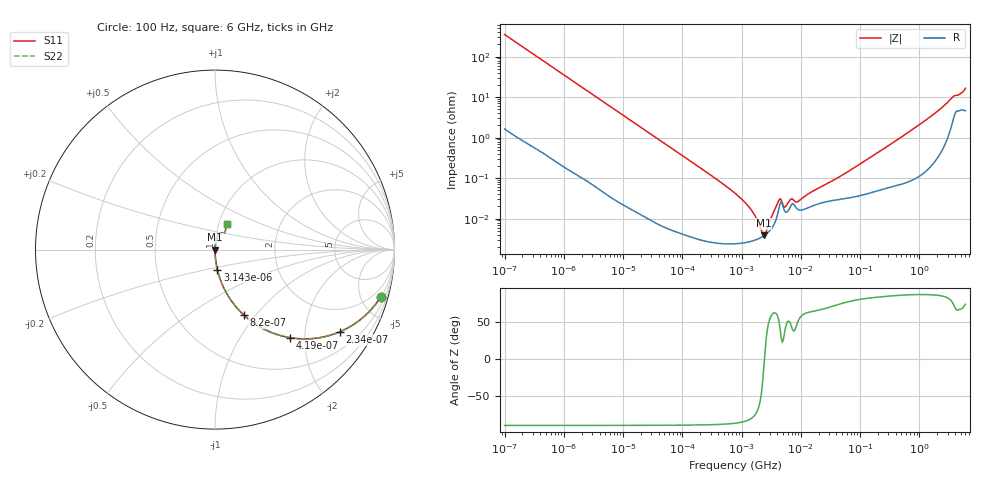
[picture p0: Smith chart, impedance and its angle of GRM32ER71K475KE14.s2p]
!Murata Part Number: GRM32ER71K475KE14
!These Parameters are Measured in Series Mode Connection
!Data Generated on Mar 30, 2021
!  o--ll--o
!Port1  Port2
!  o------o
!Operation Temp=25[degC], DC Bias Voltage=0[V]
!Freq. Start=100[Hz] Stop=6[GHz] 401[Steps]
# Hz S RI R 50
!Freq.(Hz) S11(Real) S11(Imag) S21(Real) S21(Imag) S12(Real) S12(Imag) S22(Real) S22(Imag)
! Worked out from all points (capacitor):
!   401 points, 100 Hz to 6 GHz, reference 50 ohm
!   read as one part in series: C = 4.51 uF near 109 Hz
!   lowest |Z| = 3.85 mohm at 2.373 MHz (marker M1)
!   series resonance near 2.431 MHz, so ESL is about 950 pH
!   S11 on the Smith chart (normalised r, x): 100 Hz: 1.03, -7.05; 234 Hz: 1.01, -3.02; 419 Hz: 1.01, -1.69; 820 Hz: 1.00, -0.87; 3.143 kHz: 1.00, -0.23; 6 GHz: 1.09, +0.32
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100  0.9245 -0.2618  0.0755 0.2618  0.0755 0.2618  0.9245 -0.2618
234  0.6942 -0.4583  0.3058 0.4583  0.3058 0.4583  0.6942 -0.4583
419  0.4171 -0.4905  0.5829 0.4905  0.5829 0.4905  0.4171 -0.4905
820  0.159 -0.3631  0.841 0.3631  0.841 0.3631  0.159 -0.3631
2008  0.0314 -0.1715  0.9686 0.1715  0.9686 0.1715  0.0314 -0.1715
3143  0.0134 -0.1119  0.9866 0.1119  0.9866 0.1119  0.0134 -0.1119
40335  0.00015 -0.00892  0.9998 0.00892  0.9998 0.00892  0.00015 -0.00892
774597  2.41e-05 -0.000423  1 0.000423  1 0.000423  2.41e-05 -0.000423
1212075  2.59e-05 -0.000228  1 0.000228  1 0.000228  2.59e-05 -0.000228
1813585  3.07e-05 -9.11e-05  1 9.11e-05  1 9.11e-05  3.07e-05 -9.11e-05
2372521  3.77e-05 -7.6e-06  1 7.6e-06  1 7.6e-06  3.77e-05 -7.6e-06
3103719  5.35e-05 8.27e-05  0.9999 -8.27e-05  0.9999 -8.27e-05  5.35e-05 8.27e-05
4246196  0.000172 0.000221  0.9998 -0.000221  0.9998 -0.000221  0.000172 0.000221
5554849  0.000144 0.000137  0.9999 -0.000137  0.9999 -0.000137  0.000144 0.000137
6644369  0.000195 0.000219  0.9998 -0.000219  0.9998 -0.000219  0.000195 0.000219
9090158  0.000166 0.000211  0.9998 -0.000211  0.9998 -0.000211  0.000166 0.000211
1.555665e7  0.000204 0.00042  0.9998 -0.00042  0.9998 -0.00042  0.000204 0.00042
5.211241e7  0.000309 0.00119  0.9997 -0.00119  0.9997 -0.00119  0.000309 0.00119
3.124326e8  0.000628 0.00653  0.9994 -0.00653  0.9994 -0.00653  0.000628 0.00653
1.791126e9  0.00395 0.0386  0.9961 -0.0386  0.9961 -0.0386  0.00395 0.0386
3.666503e9  0.0332 0.0917  0.9668 -0.0917  0.9668 -0.0917  0.0332 0.0917
6e9  0.0662 0.1425  0.9338 -0.1425  0.9338 -0.1425  0.0662 0.1425
